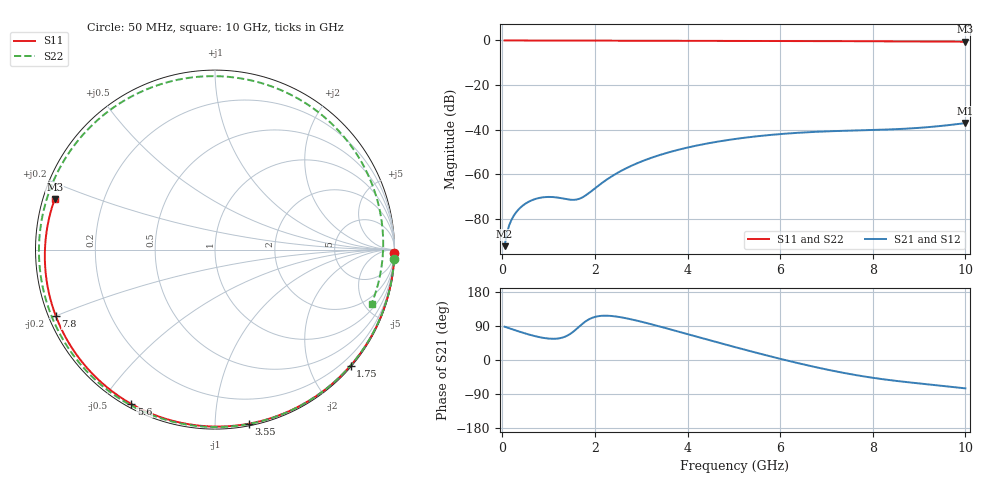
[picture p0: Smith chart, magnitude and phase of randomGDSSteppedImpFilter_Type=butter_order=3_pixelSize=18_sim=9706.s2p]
! freq	dB(S11)	phase(S11)	dB(S12)	phase(S12)
!  dB(S21)	phase(S21)	dB(S22)	phase(S22)
!S-par simulation data
#  GHz  S  DB  R 50
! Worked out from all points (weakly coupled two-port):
!   200 points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, 50 MHz to 10 GHz, reference 50 ohm
!   highest |S21| = -37.11 dB at 10 GHz (marker M1); lowest = -92.4 dB at 50 MHz (marker M2)
!   lowest |S11| = -0.6 dB at 10 GHz (marker M3), VSWR 30.43, Z = 1.68 + j7.71 ohm
!   |S11| at or under -10 dB: nowhere
!   |S22| runs from -0.7 to 0.0 dB; largest |S21 - S12| = 0
!   S11 on the Smith chart (normalised r, x): 50 MHz: 1, -98; 1.75 GHz: 0.02, -2.71; 3.55 GHz: 0.01, -1.21; 5.6 GHz: 0.01, -0.60; 7.8 GHz: 0.02, -0.20; 10 GHz: 0.03, +0.15
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0.05  -0.00 -1.2  -92.40 87.9  -92.40 87.9  -0.00 -3.1
0.2  -0.01 -4.7  -80.49 81.7  -80.49 81.7  -0.01 -12.3
0.35  -0.01 -8.3  -75.93 75.6  -75.93 75.6  -0.03 -21.3
0.55  -0.02 -13.0  -72.67 68.1  -72.67 68.1  -0.04 -33.2
0.95  -0.03 -22.3  -70.31 57.2  -70.31 57.2  -0.07 -56.1
1.25  -0.04 -29.2  -70.74 57.7  -70.74 57.7  -0.08 -72.2
1.55  -0.05 -36.0  -71.58 76.4  -71.58 76.4  -0.10 -87.3
1.75  -0.05 -40.5  -70.25 97.5  -70.25 97.5  -0.10 -96.8
2.15  -0.06 -49.4  -64.06 116.7  -64.06 116.7  -0.12 -114.6
2.6  -0.08 -59.2  -58.20 111.9  -58.20 111.9  -0.13 -132.9
3.4  -0.10 -76.0  -51.46 88.4  -51.46 88.4  -0.15 -162.1
3.55  -0.10 -79.1  -50.52 83.5  -50.52 83.5  -0.16 -167.2
4.3  -0.13 -94.0  -46.77 58.2  -46.77 58.2  -0.18 168.3
5.05  -0.16 -108.3  -44.19 33.2  -44.19 33.2  -0.21 144.8
5.6  -0.19 -118.4  -42.82 15.5  -42.82 15.5  -0.24 127.6
6.15  -0.22 -128.4  -41.81 -1.4  -41.81 -1.4  -0.26 110.2
6.7  -0.26 -138.1  -41.11 -17.1  -41.11 -17.1  -0.29 92.5
7.25  -0.30 -147.8  -40.65 -31.2  -40.65 -31.2  -0.33 74.4
7.8  -0.35 -157.5  -40.33 -43.2  -40.33 -43.2  -0.37 56.0
8.35  -0.40 -167.2  -39.98 -52.8  -39.98 -52.8  -0.42 37.2
9.2  -0.48 177.5  -38.93 -64.2  -38.93 -64.2  -0.53 8.1
10  -0.57 162.5  -37.11 -74.9  -37.11 -74.9  -0.70 -19.1
